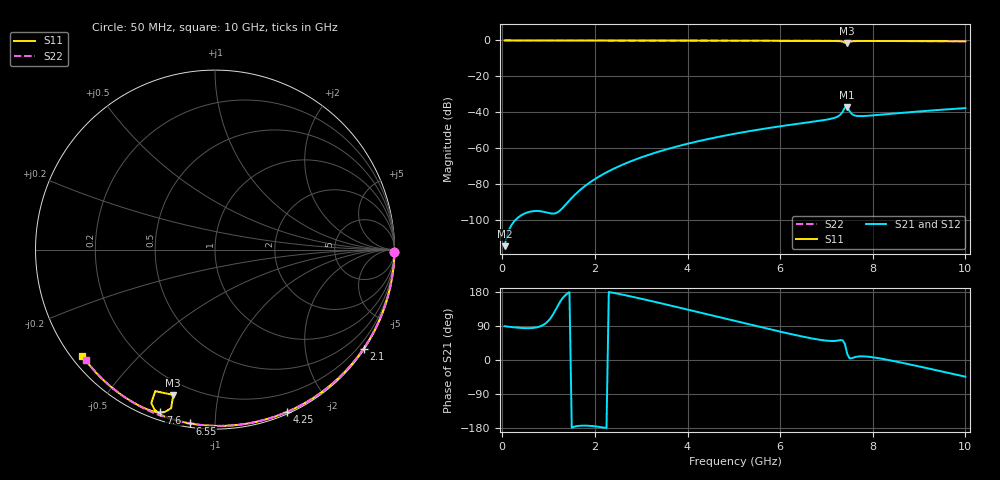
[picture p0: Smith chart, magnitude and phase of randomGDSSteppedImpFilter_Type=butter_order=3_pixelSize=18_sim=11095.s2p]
! freq	dB(S11)	phase(S11)	dB(S12)	phase(S12)
!  dB(S21)	phase(S21)	dB(S22)	phase(S22)
!S-par simulation data
#  GHz  S  DB  R 50
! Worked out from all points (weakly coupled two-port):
!   200 points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, 50 MHz to 10 GHz, reference 50 ohm
!   highest |S21| = -37.09 dB at 7.45 GHz (marker M1); lowest = -114.8 dB at 50 MHz (marker M2)
!   lowest |S11| = -1.5 dB at 7.45 GHz (marker M3), VSWR 11.65, Z = 6.7 - j37.2 ohm
!   |S11| at or under -10 dB: nowhere
!   |S22| runs from -0.5 to 0.0 dB; largest |S21 - S12| = 0
!   S11 on the Smith chart (normalised r, x): 50 MHz: open; 2.1 GHz: 0.03, -3.30; 4.25 GHz: 0.02, -1.54; 6.55 GHz: 0.02, -0.87; 7.6 GHz: 0.03, -0.72; 10 GHz: 0.03, -0.35
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0.05  -0.00 -0.8  -114.78 89.2  -114.78 89.2  -0.00 -0.8
0.9  -0.02 -14.6  -95.62 93.7  -95.62 93.7  -0.02 -14.4
1.75  -0.04 -28.2  -81.93 -173.1  -81.93 -173.1  -0.04 -27.8
1.85  -0.04 -29.8  -79.97 -173.4  -79.97 -173.4  -0.04 -29.4
2.1  -0.04 -33.7  -75.77 -176.6  -75.77 -176.6  -0.04 -33.2
2.65  -0.05 -42.2  -68.73 171.1  -68.73 171.1  -0.05 -41.6
3.4  -0.07 -53.6  -61.85 150.4  -61.85 150.4  -0.07 -52.9
4.25  -0.09 -66.1  -56.11 125.7  -56.11 125.7  -0.09 -65.2
5.05  -0.12 -77.5  -51.90 102.2  -51.90 102.2  -0.12 -76.4
6.55  -0.19 -98.2  -45.88 60.2  -45.88 60.2  -0.18 -96.5
6.7  -0.20 -100.3  -45.35 56.6  -45.35 56.6  -0.19 -98.5
7.2  -0.29 -108.2  -42.96 50.5  -42.96 50.5  -0.22 -104.9
7.3  -0.43 -110.8  -41.44 52.4  -41.44 52.4  -0.23 -106.1
7.35  -0.66 -112.5  -39.81 52.0  -39.81 52.0  -0.23 -106.8
7.4  -1.35 -112.9  -37.33 41.9  -37.33 41.9  -0.23 -107.4
7.45  -1.49 -106.0  -37.09 15.4  -37.09 15.4  -0.24 -108.0
7.5  -0.75 -105.5  -39.55 4.2  -39.55 4.2  -0.24 -108.7
7.55  -0.48 -107.2  -41.09 4.8  -41.09 4.8  -0.24 -109.3
7.6  -0.38 -108.6  -41.79 7.0  -41.79 7.0  -0.25 -109.9
7.8  -0.29 -112.5  -42.16 9.7  -42.16 9.7  -0.26 -112.4
8.35  -0.31 -120.2  -41.02 -0.3  -41.02 -0.3  -0.30 -119.3
10  -0.48 -141.3  -37.74 -44.0  -37.74 -44.0  -0.47 -139.5
